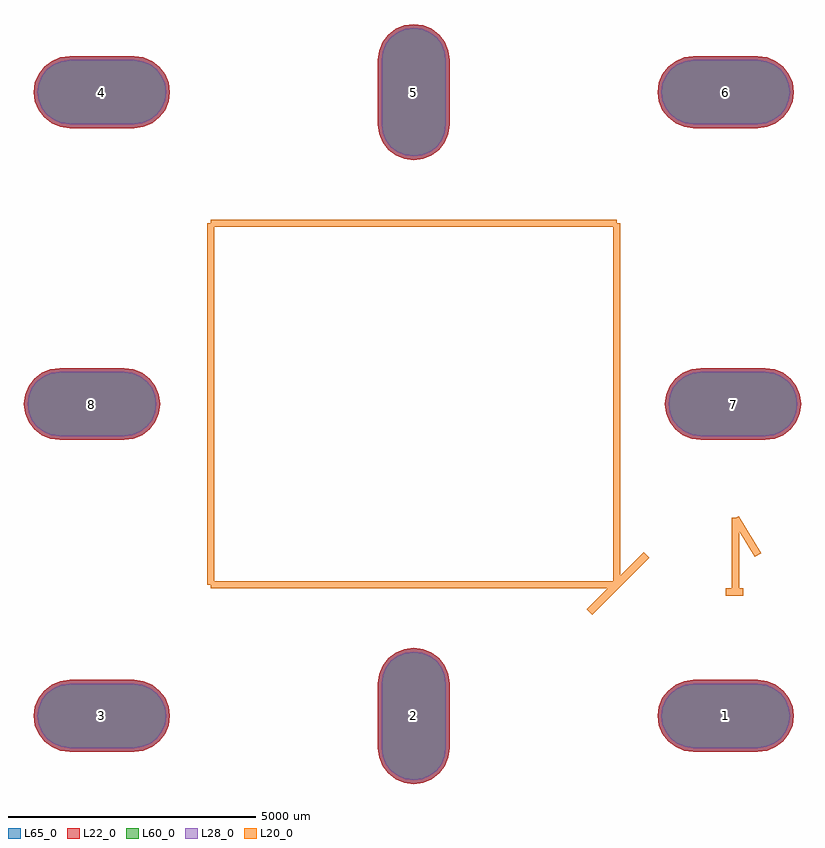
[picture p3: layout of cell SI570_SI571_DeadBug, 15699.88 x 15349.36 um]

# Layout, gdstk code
import gdstk
lib = gdstk.Library(unit=1e-6, precision=1e-09)
def P(c, l, *ps):  # polygons
    for p in ps: c.add(gdstk.Polygon(p, *l))
L20_0 = (20, 0)
L22_0 = (22, 0)
L28_0 = (28, 0)
L60_0 = (60, 0)
L65_0 = (65, 0)

si570_si571_deadbug = lib.new_cell('SI570_SI571_DeadBug')
P(si570_si571_deadbug, L22_0, [(0,-7674.68),(187.706,-7649.968),(362.62,-7577.516),(512.822,-7462.262),(628.076,-7312.06),(700.528,-7137.146),(725.24,-6949.44),(725.24,-5648.96),(700.528,-5461.254),(628.076,-5286.34),(512.822,-5136.138),(362.62,-5020.884),(187.706,-4948.432),(0,-4923.72),(-187.706,-4948.432),(-362.62,-5020.884),(-512.822,-5136.138),(-628.076,-5286.34),(-700.528,-5461.254),(-725.24,-5648.96),(-725.24,-6949.44),(-700.528,-7137.146),(-628.076,-7312.06),(-512.822,-7462.262),(-362.62,-7577.516),(-187.706,-7649.968)],
  [(5798.82,-725.24),(7099.3,-725.24),(7287.006,-700.528),(7461.92,-628.076),(7612.122,-512.822),(7727.376,-362.62),(7799.828,-187.706),(7824.54,0),(7799.828,187.706),(7727.376,362.62),(7612.122,512.822),(7461.92,628.076),(7287.006,700.528),(7099.3,725.24),(5798.82,725.24),(5611.114,700.528),(5436.2,628.076),(5285.998,512.822),(5170.744,362.62),(5098.292,187.706),(5073.58,0),(5098.292,-187.706),(5170.744,-362.62),(5285.998,-512.822),(5436.2,-628.076),(5611.114,-700.528)],
  [(-7150.1,-725.24),(-5849.62,-725.24),(-5661.914,-700.528),(-5487,-628.076),(-5336.798,-512.822),(-5221.544,-362.62),(-5149.092,-187.706),(-5124.38,0),(-5149.092,187.706),(-5221.544,362.62),(-5336.798,512.822),(-5487,628.076),(-5661.914,700.528),(-5849.62,725.24),(-7150.1,725.24),(-7337.806,700.528),(-7512.72,628.076),(-7662.922,512.822),(-7778.176,362.62),(-7850.628,187.706),(-7875.34,0),(-7850.628,-187.706),(-7778.176,-362.62),(-7662.922,-512.822),(-7512.72,-628.076),(-7337.806,-700.528)],
  [(0,4923.72),(187.706,4948.432),(362.62,5020.884),(512.822,5136.138),(628.076,5286.34),(700.528,5461.254),(725.24,5648.96),(725.24,6949.44),(700.528,7137.146),(628.076,7312.06),(512.822,7462.262),(362.62,7577.516),(187.706,7649.968),(0,7674.68),(-187.706,7649.968),(-362.62,7577.516),(-512.822,7462.262),(-628.076,7312.06),(-700.528,7137.146),(-725.24,6949.44),(-725.24,5648.96),(-700.528,5461.254),(-628.076,5286.34),(-512.822,5136.138),(-362.62,5020.884),(-187.706,4948.432)],
  [(5648.96,5573.96),(6949.44,5573.96),(7137.146,5598.672),(7312.06,5671.124),(7462.262,5786.378),(7577.516,5936.58),(7649.968,6111.494),(7674.68,6299.2),(7649.968,6486.906),(7577.516,6661.82),(7462.262,6812.022),(7312.06,6927.276),(7137.146,6999.728),(6949.44,7024.44),(5648.96,7024.44),(5461.254,6999.728),(5286.34,6927.276),(5136.138,6812.022),(5020.884,6661.82),(4948.432,6486.906),(4923.72,6299.2),(4948.432,6111.494),(5020.884,5936.58),(5136.138,5786.378),(5286.34,5671.124),(5461.254,5598.672)],
  [(5648.96,-7024.44),(6949.44,-7024.44),(7137.146,-6999.728),(7312.06,-6927.276),(7462.262,-6812.022),(7577.516,-6661.82),(7649.968,-6486.906),(7674.68,-6299.2),(7649.968,-6111.494),(7577.516,-5936.58),(7462.262,-5786.378),(7312.06,-5671.124),(7137.146,-5598.672),(6949.44,-5573.96),(5648.96,-5573.96),(5461.254,-5598.672),(5286.34,-5671.124),(5136.138,-5786.378),(5020.884,-5936.58),(4948.432,-6111.494),(4923.72,-6299.2),(4948.432,-6486.906),(5020.884,-6661.82),(5136.138,-6812.022),(5286.34,-6927.276),(5461.254,-6999.728)],
  [(-6949.44,5573.96),(-5648.96,5573.96),(-5461.254,5598.672),(-5286.34,5671.124),(-5136.138,5786.378),(-5020.884,5936.58),(-4948.432,6111.494),(-4923.72,6299.2),(-4948.432,6486.906),(-5020.884,6661.82),(-5136.138,6812.022),(-5286.34,6927.276),(-5461.254,6999.728),(-5648.96,7024.44),(-6949.44,7024.44),(-7137.146,6999.728),(-7312.06,6927.276),(-7462.262,6812.022),(-7577.516,6661.82),(-7649.968,6486.906),(-7674.68,6299.2),(-7649.968,6111.494),(-7577.516,5936.58),(-7462.262,5786.378),(-7312.06,5671.124),(-7137.146,5598.672)],
  [(-6949.44,-7024.44),(-5648.96,-7024.44),(-5461.254,-6999.728),(-5286.34,-6927.276),(-5136.138,-6812.022),(-5020.884,-6661.82),(-4948.432,-6486.906),(-4923.72,-6299.2),(-4948.432,-6111.494),(-5020.884,-5936.58),(-5136.138,-5786.378),(-5286.34,-5671.124),(-5461.254,-5598.672),(-5648.96,-5573.96),(-6949.44,-5573.96),(-7137.146,-5598.672),(-7312.06,-5671.124),(-7462.262,-5786.378),(-7577.516,-5936.58),(-7649.968,-6111.494),(-7674.68,-6299.2),(-7649.968,-6486.906),(-7577.516,-6661.82),(-7462.262,-6812.022),(-7312.06,-6927.276),(-7137.146,-6999.728)])
P(si570_si571_deadbug, L28_0, [(0,-7599.68),(168.294,-7577.524),(325.12,-7512.564),(459.789,-7409.229),(563.124,-7274.56),(628.084,-7117.734),(650.24,-6949.44),(650.24,-5648.96),(628.084,-5480.666),(563.124,-5323.84),(459.789,-5189.171),(325.12,-5085.836),(168.294,-5020.876),(0,-4998.72),(-168.294,-5020.876),(-325.12,-5085.836),(-459.789,-5189.171),(-563.124,-5323.84),(-628.084,-5480.666),(-650.24,-5648.96),(-650.24,-6949.44),(-628.084,-7117.734),(-563.124,-7274.56),(-459.789,-7409.229),(-325.12,-7512.564),(-168.294,-7577.524)],
  [(5798.82,-650.24),(7099.3,-650.24),(7267.594,-628.084),(7424.42,-563.124),(7559.089,-459.789),(7662.424,-325.12),(7727.384,-168.294),(7749.54,0),(7727.384,168.294),(7662.424,325.12),(7559.089,459.789),(7424.42,563.124),(7267.594,628.084),(7099.3,650.24),(5798.82,650.24),(5630.526,628.084),(5473.7,563.124),(5339.031,459.789),(5235.696,325.12),(5170.736,168.294),(5148.58,0),(5170.736,-168.294),(5235.696,-325.12),(5339.031,-459.789),(5473.7,-563.124),(5630.526,-628.084)],
  [(-7150.1,-650.24),(-5849.62,-650.24),(-5681.326,-628.084),(-5524.5,-563.124),(-5389.831,-459.789),(-5286.496,-325.12),(-5221.536,-168.294),(-5199.38,0),(-5221.536,168.294),(-5286.496,325.12),(-5389.831,459.789),(-5524.5,563.124),(-5681.326,628.084),(-5849.62,650.24),(-7150.1,650.24),(-7318.394,628.084),(-7475.22,563.124),(-7609.889,459.789),(-7713.224,325.12),(-7778.184,168.294),(-7800.34,0),(-7778.184,-168.294),(-7713.224,-325.12),(-7609.889,-459.789),(-7475.22,-563.124),(-7318.394,-628.084)],
  [(0,4998.72),(168.294,5020.876),(325.12,5085.836),(459.789,5189.171),(563.124,5323.84),(628.084,5480.666),(650.24,5648.96),(650.24,6949.44),(628.084,7117.734),(563.124,7274.56),(459.789,7409.229),(325.12,7512.564),(168.294,7577.524),(0,7599.68),(-168.294,7577.524),(-325.12,7512.564),(-459.789,7409.229),(-563.124,7274.56),(-628.084,7117.734),(-650.24,6949.44),(-650.24,5648.96),(-628.084,5480.666),(-563.124,5323.84),(-459.789,5189.171),(-325.12,5085.836),(-168.294,5020.876)],
  [(5648.96,5648.96),(6949.44,5648.96),(7117.734,5671.116),(7274.56,5736.076),(7409.229,5839.411),(7512.564,5974.08),(7577.524,6130.906),(7599.68,6299.2),(7577.524,6467.494),(7512.564,6624.32),(7409.229,6758.989),(7274.56,6862.324),(7117.734,6927.284),(6949.44,6949.44),(5648.96,6949.44),(5480.666,6927.284),(5323.84,6862.324),(5189.171,6758.989),(5085.836,6624.32),(5020.876,6467.494),(4998.72,6299.2),(5020.876,6130.906),(5085.836,5974.08),(5189.171,5839.411),(5323.84,5736.076),(5480.666,5671.116)],
  [(5648.96,-6949.44),(6949.44,-6949.44),(7117.734,-6927.284),(7274.56,-6862.324),(7409.229,-6758.989),(7512.564,-6624.32),(7577.524,-6467.494),(7599.68,-6299.2),(7577.524,-6130.906),(7512.564,-5974.08),(7409.229,-5839.411),(7274.56,-5736.076),(7117.734,-5671.116),(6949.44,-5648.96),(5648.96,-5648.96),(5480.666,-5671.116),(5323.84,-5736.076),(5189.171,-5839.411),(5085.836,-5974.08),(5020.876,-6130.906),(4998.72,-6299.2),(5020.876,-6467.494),(5085.836,-6624.32),(5189.171,-6758.989),(5323.84,-6862.324),(5480.666,-6927.284)],
  [(-6949.44,5648.96),(-5648.96,5648.96),(-5480.666,5671.116),(-5323.84,5736.076),(-5189.171,5839.411),(-5085.836,5974.08),(-5020.876,6130.906),(-4998.72,6299.2),(-5020.876,6467.494),(-5085.836,6624.32),(-5189.171,6758.989),(-5323.84,6862.324),(-5480.666,6927.284),(-5648.96,6949.44),(-6949.44,6949.44),(-7117.734,6927.284),(-7274.56,6862.324),(-7409.229,6758.989),(-7512.564,6624.32),(-7577.524,6467.494),(-7599.68,6299.2),(-7577.524,6130.906),(-7512.564,5974.08),(-7409.229,5839.411),(-7274.56,5736.076),(-7117.734,5671.116)],
  [(-6949.44,-6949.44),(-5648.96,-6949.44),(-5480.666,-6927.284),(-5323.84,-6862.324),(-5189.171,-6758.989),(-5085.836,-6624.32),(-5020.876,-6467.494),(-4998.72,-6299.2),(-5020.876,-6130.906),(-5085.836,-5974.08),(-5189.171,-5839.411),(-5323.84,-5736.076),(-5480.666,-5671.116),(-5648.96,-5648.96),(-6949.44,-5648.96),(-7117.734,-5671.116),(-7274.56,-5736.076),(-7409.229,-5839.411),(-7512.564,-5974.08),(-7577.524,-6130.906),(-7599.68,-6299.2),(-7577.524,-6467.494),(-7512.564,-6624.32),(-7409.229,-6758.989),(-7274.56,-6862.324),(-7117.734,-6927.284)])
P(si570_si571_deadbug, L60_0, [(0,-7599.68),(168.294,-7577.524),(325.12,-7512.564),(459.789,-7409.229),(563.124,-7274.56),(628.084,-7117.734),(650.24,-6949.44),(650.24,-5648.96),(628.084,-5480.666),(563.124,-5323.84),(459.789,-5189.171),(325.12,-5085.836),(168.294,-5020.876),(0,-4998.72),(-168.294,-5020.876),(-325.12,-5085.836),(-459.789,-5189.171),(-563.124,-5323.84),(-628.084,-5480.666),(-650.24,-5648.96),(-650.24,-6949.44),(-628.084,-7117.734),(-563.124,-7274.56),(-459.789,-7409.229),(-325.12,-7512.564),(-168.294,-7577.524)],
  [(5798.82,-650.24),(7099.3,-650.24),(7267.594,-628.084),(7424.42,-563.124),(7559.089,-459.789),(7662.424,-325.12),(7727.384,-168.294),(7749.54,0),(7727.384,168.294),(7662.424,325.12),(7559.089,459.789),(7424.42,563.124),(7267.594,628.084),(7099.3,650.24),(5798.82,650.24),(5630.526,628.084),(5473.7,563.124),(5339.031,459.789),(5235.696,325.12),(5170.736,168.294),(5148.58,0),(5170.736,-168.294),(5235.696,-325.12),(5339.031,-459.789),(5473.7,-563.124),(5630.526,-628.084)],
  [(-7150.1,-650.24),(-5849.62,-650.24),(-5681.326,-628.084),(-5524.5,-563.124),(-5389.831,-459.789),(-5286.496,-325.12),(-5221.536,-168.294),(-5199.38,0),(-5221.536,168.294),(-5286.496,325.12),(-5389.831,459.789),(-5524.5,563.124),(-5681.326,628.084),(-5849.62,650.24),(-7150.1,650.24),(-7318.394,628.084),(-7475.22,563.124),(-7609.889,459.789),(-7713.224,325.12),(-7778.184,168.294),(-7800.34,0),(-7778.184,-168.294),(-7713.224,-325.12),(-7609.889,-459.789),(-7475.22,-563.124),(-7318.394,-628.084)],
  [(0,4998.72),(168.294,5020.876),(325.12,5085.836),(459.789,5189.171),(563.124,5323.84),(628.084,5480.666),(650.24,5648.96),(650.24,6949.44),(628.084,7117.734),(563.124,7274.56),(459.789,7409.229),(325.12,7512.564),(168.294,7577.524),(0,7599.68),(-168.294,7577.524),(-325.12,7512.564),(-459.789,7409.229),(-563.124,7274.56),(-628.084,7117.734),(-650.24,6949.44),(-650.24,5648.96),(-628.084,5480.666),(-563.124,5323.84),(-459.789,5189.171),(-325.12,5085.836),(-168.294,5020.876)],
  [(5648.96,5648.96),(6949.44,5648.96),(7117.734,5671.116),(7274.56,5736.076),(7409.229,5839.411),(7512.564,5974.08),(7577.524,6130.906),(7599.68,6299.2),(7577.524,6467.494),(7512.564,6624.32),(7409.229,6758.989),(7274.56,6862.324),(7117.734,6927.284),(6949.44,6949.44),(5648.96,6949.44),(5480.666,6927.284),(5323.84,6862.324),(5189.171,6758.989),(5085.836,6624.32),(5020.876,6467.494),(4998.72,6299.2),(5020.876,6130.906),(5085.836,5974.08),(5189.171,5839.411),(5323.84,5736.076),(5480.666,5671.116)],
  [(5648.96,-6949.44),(6949.44,-6949.44),(7117.734,-6927.284),(7274.56,-6862.324),(7409.229,-6758.989),(7512.564,-6624.32),(7577.524,-6467.494),(7599.68,-6299.2),(7577.524,-6130.906),(7512.564,-5974.08),(7409.229,-5839.411),(7274.56,-5736.076),(7117.734,-5671.116),(6949.44,-5648.96),(5648.96,-5648.96),(5480.666,-5671.116),(5323.84,-5736.076),(5189.171,-5839.411),(5085.836,-5974.08),(5020.876,-6130.906),(4998.72,-6299.2),(5020.876,-6467.494),(5085.836,-6624.32),(5189.171,-6758.989),(5323.84,-6862.324),(5480.666,-6927.284)],
  [(-6949.44,5648.96),(-5648.96,5648.96),(-5480.666,5671.116),(-5323.84,5736.076),(-5189.171,5839.411),(-5085.836,5974.08),(-5020.876,6130.906),(-4998.72,6299.2),(-5020.876,6467.494),(-5085.836,6624.32),(-5189.171,6758.989),(-5323.84,6862.324),(-5480.666,6927.284),(-5648.96,6949.44),(-6949.44,6949.44),(-7117.734,6927.284),(-7274.56,6862.324),(-7409.229,6758.989),(-7512.564,6624.32),(-7577.524,6467.494),(-7599.68,6299.2),(-7577.524,6130.906),(-7512.564,5974.08),(-7409.229,5839.411),(-7274.56,5736.076),(-7117.734,5671.116)],
  [(-6949.44,-6949.44),(-5648.96,-6949.44),(-5480.666,-6927.284),(-5323.84,-6862.324),(-5189.171,-6758.989),(-5085.836,-6624.32),(-5020.876,-6467.494),(-4998.72,-6299.2),(-5020.876,-6130.906),(-5085.836,-5974.08),(-5189.171,-5839.411),(-5323.84,-5736.076),(-5480.666,-5671.116),(-5648.96,-5648.96),(-6949.44,-5648.96),(-7117.734,-5671.116),(-7274.56,-5736.076),(-7409.229,-5839.411),(-7512.564,-5974.08),(-7577.524,-6130.906),(-7599.68,-6299.2),(-7577.524,-6467.494),(-7512.564,-6624.32),(-7409.229,-6758.989),(-7274.56,-6862.324),(-7117.734,-6927.284)])
P(si570_si571_deadbug, L65_0, [(0,-7674.68),(187.706,-7649.968),(362.62,-7577.516),(512.822,-7462.262),(628.076,-7312.06),(700.528,-7137.146),(725.24,-6949.44),(725.24,-5648.96),(700.528,-5461.254),(628.076,-5286.34),(512.822,-5136.138),(362.62,-5020.884),(187.706,-4948.432),(0,-4923.72),(-187.706,-4948.432),(-362.62,-5020.884),(-512.822,-5136.138),(-628.076,-5286.34),(-700.528,-5461.254),(-725.24,-5648.96),(-725.24,-6949.44),(-700.528,-7137.146),(-628.076,-7312.06),(-512.822,-7462.262),(-362.62,-7577.516),(-187.706,-7649.968)],
  [(5798.82,-725.24),(7099.3,-725.24),(7287.006,-700.528),(7461.92,-628.076),(7612.122,-512.822),(7727.376,-362.62),(7799.828,-187.706),(7824.54,0),(7799.828,187.706),(7727.376,362.62),(7612.122,512.822),(7461.92,628.076),(7287.006,700.528),(7099.3,725.24),(5798.82,725.24),(5611.114,700.528),(5436.2,628.076),(5285.998,512.822),(5170.744,362.62),(5098.292,187.706),(5073.58,0),(5098.292,-187.706),(5170.744,-362.62),(5285.998,-512.822),(5436.2,-628.076),(5611.114,-700.528)],
  [(-7150.1,-725.24),(-5849.62,-725.24),(-5661.914,-700.528),(-5487,-628.076),(-5336.798,-512.822),(-5221.544,-362.62),(-5149.092,-187.706),(-5124.38,0),(-5149.092,187.706),(-5221.544,362.62),(-5336.798,512.822),(-5487,628.076),(-5661.914,700.528),(-5849.62,725.24),(-7150.1,725.24),(-7337.806,700.528),(-7512.72,628.076),(-7662.922,512.822),(-7778.176,362.62),(-7850.628,187.706),(-7875.34,0),(-7850.628,-187.706),(-7778.176,-362.62),(-7662.922,-512.822),(-7512.72,-628.076),(-7337.806,-700.528)],
  [(0,4923.72),(187.706,4948.432),(362.62,5020.884),(512.822,5136.138),(628.076,5286.34),(700.528,5461.254),(725.24,5648.96),(725.24,6949.44),(700.528,7137.146),(628.076,7312.06),(512.822,7462.262),(362.62,7577.516),(187.706,7649.968),(0,7674.68),(-187.706,7649.968),(-362.62,7577.516),(-512.822,7462.262),(-628.076,7312.06),(-700.528,7137.146),(-725.24,6949.44),(-725.24,5648.96),(-700.528,5461.254),(-628.076,5286.34),(-512.822,5136.138),(-362.62,5020.884),(-187.706,4948.432)],
  [(5648.96,5573.96),(6949.44,5573.96),(7137.146,5598.672),(7312.06,5671.124),(7462.262,5786.378),(7577.516,5936.58),(7649.968,6111.494),(7674.68,6299.2),(7649.968,6486.906),(7577.516,6661.82),(7462.262,6812.022),(7312.06,6927.276),(7137.146,6999.728),(6949.44,7024.44),(5648.96,7024.44),(5461.254,6999.728),(5286.34,6927.276),(5136.138,6812.022),(5020.884,6661.82),(4948.432,6486.906),(4923.72,6299.2),(4948.432,6111.494),(5020.884,5936.58),(5136.138,5786.378),(5286.34,5671.124),(5461.254,5598.672)],
  [(5648.96,-7024.44),(6949.44,-7024.44),(7137.146,-6999.728),(7312.06,-6927.276),(7462.262,-6812.022),(7577.516,-6661.82),(7649.968,-6486.906),(7674.68,-6299.2),(7649.968,-6111.494),(7577.516,-5936.58),(7462.262,-5786.378),(7312.06,-5671.124),(7137.146,-5598.672),(6949.44,-5573.96),(5648.96,-5573.96),(5461.254,-5598.672),(5286.34,-5671.124),(5136.138,-5786.378),(5020.884,-5936.58),(4948.432,-6111.494),(4923.72,-6299.2),(4948.432,-6486.906),(5020.884,-6661.82),(5136.138,-6812.022),(5286.34,-6927.276),(5461.254,-6999.728)],
  [(-6949.44,5573.96),(-5648.96,5573.96),(-5461.254,5598.672),(-5286.34,5671.124),(-5136.138,5786.378),(-5020.884,5936.58),(-4948.432,6111.494),(-4923.72,6299.2),(-4948.432,6486.906),(-5020.884,6661.82),(-5136.138,6812.022),(-5286.34,6927.276),(-5461.254,6999.728),(-5648.96,7024.44),(-6949.44,7024.44),(-7137.146,6999.728),(-7312.06,6927.276),(-7462.262,6812.022),(-7577.516,6661.82),(-7649.968,6486.906),(-7674.68,6299.2),(-7649.968,6111.494),(-7577.516,5936.58),(-7462.262,5786.378),(-7312.06,5671.124),(-7137.146,5598.672)],
  [(-6949.44,-7024.44),(-5648.96,-7024.44),(-5461.254,-6999.728),(-5286.34,-6927.276),(-5136.138,-6812.022),(-5020.884,-6661.82),(-4948.432,-6486.906),(-4923.72,-6299.2),(-4948.432,-6111.494),(-5020.884,-5936.58),(-5136.138,-5786.378),(-5286.34,-5671.124),(-5461.254,-5598.672),(-5648.96,-5573.96),(-6949.44,-5573.96),(-7137.146,-5598.672),(-7312.06,-5671.124),(-7462.262,-5786.378),(-7577.516,-5936.58),(-7649.968,-6111.494),(-7674.68,-6299.2),(-7649.968,-6486.906),(-7577.516,-6661.82),(-7462.262,-6812.022),(-7312.06,-6927.276),(-7137.146,-6999.728)])
si570_si571_deadbug.add(gdstk.FlexPath([(4099.56,-3649.98),(4099.56,3649.98)], 149.998, ends="flush", simple_path=True, layer=20, datatype=0))  # L20_0
si570_si571_deadbug.add(gdstk.FlexPath([(-4099.56,-3649.98),(4099.56,-3649.98)], 149.998, ends="flush", simple_path=True, layer=20, datatype=0))  # L20_0
si570_si571_deadbug.add(gdstk.FlexPath([(-4099.56,3649.98),(-4099.56,-3649.98)], 149.998, ends="flush", simple_path=True, layer=20, datatype=0))  # L20_0
si570_si571_deadbug.add(gdstk.FlexPath([(4099.56,3649.98),(-4099.56,3649.98)], 149.998, ends="flush", simple_path=True, layer=20, datatype=0))  # L20_0
si570_si571_deadbug.add(gdstk.FlexPath([(3550.92,-4201.16),(4699,-3050.54)], 149.998, ends="flush", simple_path=True, layer=20, datatype=0))  # L20_0
si570_si571_deadbug.add(gdstk.FlexPath([(6649.72,-3799.84),(6299.2,-3799.84)], 149.998, ends="flush", simple_path=True, layer=20, datatype=0))  # L20_0
si570_si571_deadbug.add(gdstk.FlexPath([(6499.86,-3799.84),(6649.72,-3799.84)], 149.998, ends="flush", simple_path=True, layer=20, datatype=0))  # L20_0
si570_si571_deadbug.add(gdstk.FlexPath([(6499.86,-2301.24),(6499.86,-3799.84)], 149.998, ends="flush", simple_path=True, layer=20, datatype=0))  # L20_0
si570_si571_deadbug.add(gdstk.FlexPath([(6949.44,-3050.54),(6499.86,-2301.24)], 149.998, ends="flush", simple_path=True, layer=20, datatype=0))  # L20_0
si570_si571_deadbug.add(gdstk.Label('2', (0,-6299.2), layer=28, texttype=0))
si570_si571_deadbug.add(gdstk.Label('7', (6449.06,0), layer=28, texttype=0))
si570_si571_deadbug.add(gdstk.Label('8', (-6499.86,0), layer=28, texttype=0))
si570_si571_deadbug.add(gdstk.Label('5', (0,6299.2), layer=28, texttype=0))
si570_si571_deadbug.add(gdstk.Label('6', (6299.2,6299.2), layer=28, texttype=0))
si570_si571_deadbug.add(gdstk.Label('1', (6299.2,-6299.2), layer=28, texttype=0))
si570_si571_deadbug.add(gdstk.Label('4', (-6299.2,6299.2), layer=28, texttype=0))
si570_si571_deadbug.add(gdstk.Label('3', (-6299.2,-6299.2), layer=28, texttype=0))
si570_si571_deadbug.add(gdstk.Label('type', (50.8,-13700.76), layer=9, texttype=0))
si570_si571_deadbug.add(gdstk.Label('devicename', (99.06,14450.06), layer=9, texttype=0))

lib.write_gds('SI570_SI571_DeadBug.gds')
